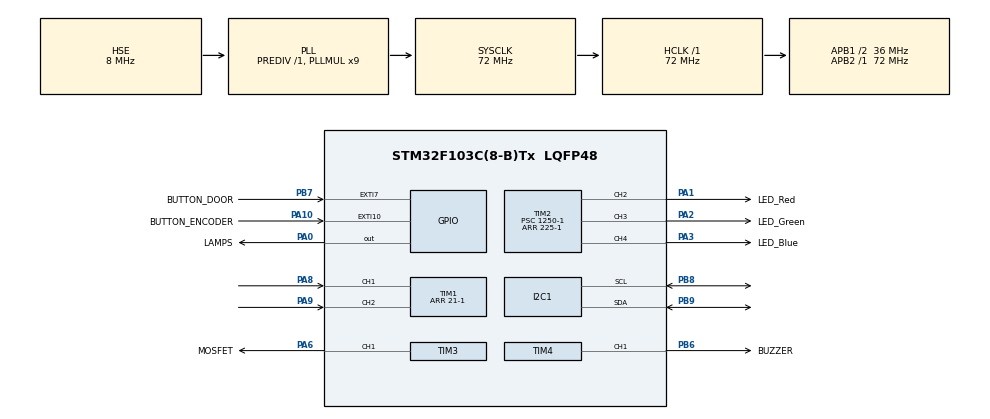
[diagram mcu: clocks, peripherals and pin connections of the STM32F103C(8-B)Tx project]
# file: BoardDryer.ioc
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Mcu.Family=STM32F1
Mcu.Name=STM32F103C(8-B)Tx
Mcu.Package=LQFP48
NVIC.EXTI15_10_IRQn=true\:0\:0\:false\:false\:true\:true\:true\:true
NVIC.EXTI9_5_IRQn=true\:0\:0\:false\:false\:true\:true\:true\:true
NVIC.PriorityGroup=NVIC_PRIORITYGROUP_4
NVIC.TIM1_UP_IRQn=true\:0\:0\:false\:false\:true\:true\:true\:true
NVIC.TIM2_IRQn=true\:0\:0\:false\:false\:true\:true\:true\:true
NVIC.TIM3_IRQn=true\:0\:0\:false\:false\:true\:true\:true\:true
NVIC.TIM4_IRQn=true\:0\:0\:false\:false\:true\:true\:true\:true
PA0-WKUP.GPIO_Label=LAMPS
PA0-WKUP.Signal=GPIO_Output
PA1.GPIO_Label=LED_Red
PA1.Signal=S_TIM2_CH2
PA10.GPIO_Label=BUTTON_ENCODER
PA10.Signal=GPXTI10
PA13.Mode=Serial_Wire
PA13.Signal=SYS_JTMS-SWDIO
PA14.Mode=Serial_Wire
PA14.Signal=SYS_JTCK-SWCLK
PA2.GPIO_Label=LED_Green
PA2.Signal=S_TIM2_CH3
PA3.GPIO_Label=LED_Blue
PA3.Signal=S_TIM2_CH4
PA6.GPIO_Label=MOSFET
PA6.Signal=S_TIM3_CH1
PA8.Signal=S_TIM1_CH1
PA9.Signal=S_TIM1_CH2
PB6.GPIO_Label=BUZZER
PB6.Signal=S_TIM4_CH1
PB7.GPIO_Label=BUTTON_DOOR
PB7.Signal=GPXTI7
PB8.Mode=I2C
PB8.Signal=I2C1_SCL
PB9.Mode=I2C
PB9.Signal=I2C1_SDA
PD0-OSC_IN.Mode=HSE-External-Oscillator
PD0-OSC_IN.Signal=RCC_OSC_IN
PD1-OSC_OUT.Mode=HSE-External-Oscillator
PD1-OSC_OUT.Signal=RCC_OSC_OUT
ProjectManager.HeapSize=0x200
ProjectManager.StackSize=0x400
ProjectManager.TargetToolchain=STM32CubeIDE
RCC.AHBFreq_Value=72000000
RCC.APB1CLKDivider=RCC_HCLK_DIV2
RCC.APB1Freq_Value=36000000
RCC.APB1TimFreq_Value=72000000
RCC.APB2Freq_Value=72000000
RCC.APB2TimFreq_Value=72000000
RCC.HCLKFreq_Value=72000000
RCC.PLLMUL=RCC_PLL_MUL9
RCC.PLLSourceVirtual=RCC_PLLSOURCE_HSE
RCC.SYSCLKFreq_VALUE=72000000
RCC.SYSCLKSource=RCC_SYSCLKSOURCE_PLLCLK
RCC.USBFreq_Value=72000000
SH.S_TIM1_CH1.0=TIM1_CH1,Encoder_Interface
SH.S_TIM1_CH2.0=TIM1_CH2,Encoder_Interface
SH.S_TIM2_CH2.0=TIM2_CH2,PWM Generation2 CH2
SH.S_TIM2_CH3.0=TIM2_CH3,PWM Generation3 CH3
SH.S_TIM2_CH4.0=TIM2_CH4,PWM Generation4 CH4
SH.S_TIM3_CH1.0=TIM3_CH1,PWM Generation1 CH1
SH.S_TIM4_CH1.0=TIM4_CH1,PWM Generation1 CH1
TIM1.Period=21-1
TIM2.Channel-PWM\ Generation2\ CH2=TIM_CHANNEL_2
TIM2.Channel-PWM\ Generation3\ CH3=TIM_CHANNEL_3
TIM2.Channel-PWM\ Generation4\ CH4=TIM_CHANNEL_4
TIM2.Period=225-1
TIM2.Prescaler=1250-1
TIM3.Channel-PWM\ Generation1\ CH1=TIM_CHANNEL_1
TIM3.Period=25000
TIM3.Prescaler=144
TIM4.Channel-PWM\ Generation1\ CH1=TIM_CHANNEL_1
VP_TIM2_VS_ClockSourceINT.Mode=Internal
board=custom

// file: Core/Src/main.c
/* USER CODE BEGIN Header */
/**
  ******************************************************************************
  * @file           : main.c
  * @brief          : Main program body
  ******************************************************************************
  * @attention
  *
  * Copyright (c) 2023 STMicroelectronics.
  * All rights reserved.
  *
  * This software is licensed under terms that can be found in the LICENSE file
  * in the root directory of this software component.
  * If no LICENSE file comes with this software, it is provided AS-IS.
  *
  ******************************************************************************
  */
/* USER CODE END Header */
#include "main.h"
#include "i2c.h"
#include "tim.h"
#include "gpio.h"

/* USER CODE BEGIN Includes */
#include <string.h>
#include <stdio.h>
#include <stdlib.h>

#include "lcd1602_i2c_lib.h"
#include "bmp280.h"
/* USER CODE END Includes */

/* USER CODE BEGIN PD */
#define TimerMode 1
#define NoTimerMode 2
#define DebugMode 3

#define MinTemperature 25
#define MaxTemperature 50
#define DELTA_TEMP 1

#define MinTime 1
#define MaxTime 90
#define Delta_Time 30
#define Time_Check 30
/* USER CODE END PD */

/* USER CODE BEGIN PV */
char *ListModes[4] = { "Set Mode: ", "1.Witn set time ", "2.Witnout time  ", "3.Diagnostics   " };
uint8_t Info_Mass_Index = 0;

volatile uint8_t ButtonDoor_State = 0;
volatile uint8_t ButtonEncoder_State = 0;
uint8_t past_encValue = 0;

uint8_t TargetMode = TimerMode;
int16_t TargetTemp = MinTemperature;
uint16_t TargetTime = 0;

uint16_t temp_choose = 30;
uint16_t time_choose = 30;

float Count_Timer = 0;
float Count_CheckTimer = 30;

BMP280_HandleTypedef bmp280;
float pressure = 0, temperature = 0;
float past_checkTemp = 0;

extern char lcd1602_tx_buffer[40];
uint8_t State_Lamp = 0, State_Cool = 0, Alarm_Flag = 0;

float temp1 = 0, temp2 = 0;
int flag[2];
/* USER CODE END PV */

void SystemClock_Config(void);

/* USER CODE BEGIN 0 */

//Установка цветов RGB-светодиода (Значения; 0-255)
void LED_RGB_Set(uint8_t LED_Red_Value, uint8_t LED_Green_Value, uint8_t LED_Blue_Value) {
	htim2.Instance->CCR2 = LED_Red_Value; // Red
	htim2.Instance->CCR3 = LED_Green_Value; // Green
	htim2.Instance->CCR4 = LED_Blue_Value; // Blue
}

//Установка звукового сигнала
void BuzzerSet(uint16_t time, uint16_t fill) {
	TIM1->PSC -=10;
	TIM4->CCR1 = TIM4->ARR * (fill/100);
	HAL_Delay(time);
	TIM4->CCR1 = 0;
}

//Вывод сообщения об ошибке
void Message_Alarm(void){
	LED_RGB_Set(255, 0, 0);
	TIM2->CCR2 = TIM2->ARR / 2;
	BuzzerSet(1000, 50);
	lcd1602_Clean();
	lcd1602_SetCursor(0, 0);
	sprintf(lcd1602_tx_buffer, "  Error!  ");
	lcd1602_Print_text(lcd1602_tx_buffer);
//	lcd1602_SetCursor(0, 1);
//	sprintf(lcd1602_tx_buffer, "Run diagnostics");
//	lcd1602_Print_text(lcd1602_tx_buffer);
	HAL_Delay(5000);
}

//Проверка закрытия двери
void CheckDoor(void){
	if(!ButtonDoor_State){
		if(State_Lamp)
			HAL_GPIO_WritePin(LAMPS_GPIO_Port, LAMPS_Pin, GPIO_PIN_RESET);
		if(State_Cool)
			TIM3->CCR1 = 0;
		Count_CheckTimer = 30;
		lcd1602_Clean();
		lcd1602_SetCursor(0, 0);
		sprintf(lcd1602_tx_buffer, "Close door, pls ");
		lcd1602_Print_text(lcd1602_tx_buffer);
		while(!ButtonDoor_State) {
			if (Count_CheckTimer < 0) {
				Alarm_Flag = 1;
				Message_Alarm();

			}
		}
	}
}

//Функция диагностики
void CHECK_SYSTEM(void) {
	lcd1602_SetCursor(0, 0);
	sprintf(lcd1602_tx_buffer, " CHECK SYSTEMS ");
	lcd1602_Print_text(lcd1602_tx_buffer);

	bmp280_read_float(&bmp280, &temperature, &pressure, NULL);
	temp1 = temperature;

	HAL_GPIO_WritePin(LAMPS_GPIO_Port, LAMPS_Pin, GPIO_PIN_SET);
	State_Lamp = 1;
	HAL_Delay(Delta_Time * 1000);
	HAL_GPIO_WritePin(LAMPS_GPIO_Port, LAMPS_Pin, GPIO_PIN_RESET);
	State_Lamp = 0;

	bmp280_read_float(&bmp280, &temperature, &pressure, NULL);
	temp2 = temperature;
	flag[0] = (temp2 - temp1) > 0 ? 1 : 0;

	temp1 = temp2;

	TIM3->CCR1 = (uint32_t) (50000);
	State_Cool = 1;
	HAL_Delay(Delta_Time * 1000);
	TIM3->CCR1 = 0;
	State_Cool = 0;

	bmp280_read_float(&bmp280, &temperature, &pressure, NULL);
	temp2 = temperature;
	flag[1] = (temp1 - temp2) < 3 ? 1 : 0;

	lcd1602_Clean();

	switch (flag[0]*10+flag[1]) {
		case 0:
			lcd1602_SetCursor(0, 0);
			sprintf(lcd1602_tx_buffer, "Defect sensor T.");
			lcd1602_Print_text(lcd1602_tx_buffer);
			lcd1602_SetCursor(0, 1);
			sprintf(lcd1602_tx_buffer, "or regul. system");
			lcd1602_Print_text(lcd1602_tx_buffer);
			break;
		case 1:
			lcd1602_SetCursor(0, 0);
			sprintf(lcd1602_tx_buffer, "Defect");
			lcd1602_Print_text(lcd1602_tx_buffer);
			lcd1602_SetCursor(0, 1);
			sprintf(lcd1602_tx_buffer, "heating system");
			lcd1602_Print_text(lcd1602_tx_buffer);
			break;
		case 10:
			lcd1602_SetCursor(0, 0);
			sprintf(lcd1602_tx_buffer, "Defect");
			lcd1602_Print_text(lcd1602_tx_buffer);
			lcd1602_SetCursor(0, 1);
			sprintf(lcd1602_tx_buffer, "cooling system");
			lcd1602_Print_text(lcd1602_tx_buffer);
			break;
		case 11:
			lcd1602_SetCursor(0, 0);
			sprintf(lcd1602_tx_buffer, "System is work");
			lcd1602_Print_text(lcd1602_tx_buffer);
			lcd1602_SetCursor(0, 1);
			sprintf(lcd1602_tx_buffer, "normal:)");
			lcd1602_Print_text(lcd1602_tx_buffer);
			break;
		}
	HAL_Delay(10000);
	ButtonEncoder_State = 0;
	lcd1602_Clean();
}

// Установка целевого режима
uint8_t ChooseTargetMode() {
	LED_RGB_Set(255, 255, 0);	//Установка индикации светодиода: Желтый цвет

	lcd1602_SetCursor(0, 0);
	sprintf(lcd1602_tx_buffer, ListModes[0]);
	lcd1602_Print_text(lcd1602_tx_buffer);

	while (!ButtonEncoder_State) {
		Info_Mass_Index = TIM1->CNT;
		lcd1602_SetCursor(0, 1);
		sprintf(lcd1602_tx_buffer, ListModes[Info_Mass_Index % 3 + 1]);
		lcd1602_Print_text(lcd1602_tx_buffer);
	}

	ButtonEncoder_State = 0;
	lcd1602_Clean();
	return (Info_Mass_Index % 3 + 1);
}

// Установка времени работы
uint8_t ChooseTargetTemp() {
	LED_RGB_Set(255, 255, 0);	//Установка индикации светодиода: Желтый цвет

	while (!ButtonEncoder_State) {
		lcd1602_SetCursor(0, 0);
		sprintf(lcd1602_tx_buffer, "Set T: %d*C  ", temp_choose);
		lcd1602_Print_text(lcd1602_tx_buffer);

		if(TIM1->CNT > past_encValue){
			if (temp_choose + 1 > MaxTemperature)
				temp_choose = MaxTemperature;
			else
					temp_choose++;
		}
		if(TIM1->CNT < past_encValue){
			if (temp_choose - 1 < MinTemperature)
				temp_choose = MinTemperature;
			else
				temp_choose--;
		}
		past_encValue = TIM1->CNT;

	}
	ButtonEncoder_State = 0;
	TIM1->CNT &= 0x0;
	lcd1602_Clean();
	return temp_choose;
}

// Установка температуры работы
uint8_t ChooseTargetTime() {
	LED_RGB_Set(255, 255, 0);	//Установка индикации светодиода: Желтый цвет

	lcd1602_SetCursor(0, 0);
	sprintf(lcd1602_tx_buffer, "Set time: ");
	lcd1602_Print_text(lcd1602_tx_buffer);

	while (!ButtonEncoder_State) {
		lcd1602_SetCursor(0, 1);
		sprintf(lcd1602_tx_buffer, "%d H. %d min.  ",
				time_choose / 60,
				time_choose % 60);
		lcd1602_Print_text(lcd1602_tx_buffer);

		if(TIM1->CNT > past_encValue){
			if (time_choose + 1 > MaxTime)
				time_choose = MaxTime;
			else
				time_choose++;
		}
		if(TIM1->CNT < past_encValue){
			if (time_choose - 1 < MinTime)
				time_choose = MinTime;
			else
				time_choose--;
		}
		past_encValue = TIM1->CNT;
	}
	ButtonEncoder_State = 0;
	TIM1->CNT &= 0x0;
	lcd1602_Clean();
	return time_choose;
}

//Нагрев перед работой
void Heating(int16_t TargetTemp){
	HAL_GPIO_WritePin(LAMPS_GPIO_Port, LAMPS_Pin, GPIO_PIN_SET);
	State_Lamp = 1;

	while (temperature <= TargetTemp) {
		bmp280_read_float(&bmp280, &temperature, &pressure, NULL);

		lcd1602_SetCursor(0, 0);
		sprintf(lcd1602_tx_buffer, "Temperature: %d ",
				(uint8_t) temperature);
		lcd1602_Print_text(lcd1602_tx_buffer);
		CheckDoor();
		if(Alarm_Flag) break;
	}
	HAL_GPIO_WritePin(LAMPS_GPIO_Port, LAMPS_Pin, GPIO_PIN_RESET);
	State_Lamp = 0;
	lcd1602_Clean();
}

//Режим по Таймеру
void RunTimerMode(int16_t TargetTemp, uint16_t TargetTime){
	LED_RGB_Set(255, 0, 0);
	BuzzerSet(3000, 100);

	Heating(TargetTemp);

	Count_Timer = (float) TargetTime * 60.0;
	Count_CheckTimer = (float) Time_Check * 30;
	past_checkTemp = bmp280_read_float(&bmp280, &temperature, &pressure, NULL);

	while (Count_Timer > 0) {
		bmp280_read_float(&bmp280, &temperature, &pressure, NULL);

		lcd1602_SetCursor(0, 0);
		sprintf(lcd1602_tx_buffer, "Temperature: %d ",
				(uint8_t) temperature);
		lcd1602_Print_text(lcd1602_tx_buffer);

		lcd1602_SetCursor(0, 1);
		sprintf(lcd1602_tx_buffer, "Time: %dH. %dm. ",
				((uint8_t) (Count_Timer / 60) / 60),
				((uint8_t) (Count_Timer / 60) % 60));
		lcd1602_Print_text(lcd1602_tx_buffer);

		if(State_Lamp){
			if (temperature - TargetTemp > DELTA_TEMP) {
				HAL_GPIO_WritePin(LAMPS_GPIO_Port, LAMPS_Pin,GPIO_PIN_RESET);
				State_Lamp = 0;
				TIM3->CCR1 = (uint32_t) (50000);
				State_Cool = 1;
			}
		}
		else{
			if (TargetTemp - temperature > DELTA_TEMP) {
				HAL_GPIO_WritePin(LAMPS_GPIO_Port, LAMPS_Pin, GPIO_PIN_SET);
				State_Lamp = 1;
				TIM3->CCR1 = 0;
				State_Cool = 0;
			}
		}
		CheckDoor();
		if(Alarm_Flag) break;
	}
}

//Режим без таймера (пока не нажата кнопка)
void RunNoTimerMode(int16_t TargetTemp){
	LED_RGB_Set(255, 0, 0);
	BuzzerSet(3000, 100);

	Heating(TargetTemp);

	ButtonEncoder_State = 0;
	while (!ButtonEncoder_State) {

		bmp280_read_float(&bmp280, &temperature, &pressure, NULL);
		lcd1602_SetCursor(0, 0);
		sprintf(lcd1602_tx_buffer, "    <Working>   ");
		lcd1602_Print_text(lcd1602_tx_buffer);
		lcd1602_SetCursor(0, 1);
		sprintf(lcd1602_tx_buffer, "Temperature: %d ",
				(uint8_t) temperature);
		lcd1602_Print_text(lcd1602_tx_buffer);
		HAL_Delay(50);

		if(State_Lamp){
			if (temperature - TargetTemp > DELTA_TEMP) {
				HAL_GPIO_WritePin(LAMPS_GPIO_Port, LAMPS_Pin,GPIO_PIN_RESET);
				State_Lamp = 0;
				TIM3->CCR1 = (uint32_t) (50000);
				State_Cool = 1;
			}
		}
		else{
			if (TargetTemp - temperature > DELTA_TEMP) {
				HAL_GPIO_WritePin(LAMPS_GPIO_Port, LAMPS_Pin, GPIO_PIN_SET);
				State_Lamp = 1;
				TIM3->CCR1 = 0;
				State_Cool = 0;
			}
		}
		CheckDoor();
		if(Alarm_Flag) break;
	}
	ButtonEncoder_State = 0;
	lcd1602_Clean();
}

//Окончание работы, охлаждение
void FinishWork(){
	lcd1602_Clean();
	HAL_GPIO_WritePin(LAMPS_GPIO_Port, LAMPS_Pin, GPIO_PIN_RESET);
	State_Lamp = 0;
	lcd1602_SetCursor(0, 0);
	sprintf(lcd1602_tx_buffer, "Work is finished");
	lcd1602_Print_text(lcd1602_tx_buffer);

	LED_RGB_Set(0, 255, 0);
	ButtonEncoder_State = 0;

	State_Cool = 1;
	for(int i = 0; i < 3; i++){
		Count_Timer = 30000;
		BuzzerSet(3000, 100);
		while (Count_Timer > 0){
			bmp280_read_float(&bmp280, &temperature, &pressure, NULL);
			TIM3->CCR1 = 50000 * (temperature/TargetTemp);

			if (ButtonEncoder_State) break;
		}
		if (ButtonEncoder_State) break;
	}
	TIM3->CCR1 = 0;
	State_Cool = 0;
	ButtonEncoder_State = 0;
	lcd1602_Clean();
}
/* USER CODE END 0 */

int main(void)
{

  /* MCU Configuration--------------------------------------------------------*/

  /* Reset of all peripherals, Initializes the Flash interface and the Systick. */
  HAL_Init();

  /* Configure the system clock */
  SystemClock_Config();

  /* Initialize all configured peripherals */
  MX_GPIO_Init();
  MX_I2C1_Init();
  MX_TIM1_Init();
  MX_TIM2_Init();
  MX_TIM3_Init();
  MX_TIM4_Init();
  /* USER CODE BEGIN 2 */
  __HAL_TIM_CLEAR_IT(&htim1, TIM_IT_UPDATE);
  	HAL_TIM_Encoder_Start_IT(&htim1, TIM_CHANNEL_ALL);

  	HAL_TIM_Base_Start_IT(&htim2);
  	HAL_TIM_PWM_Start(&htim2, TIM_CHANNEL_2);
  	HAL_TIM_PWM_Start(&htim2, TIM_CHANNEL_3);
  	HAL_TIM_PWM_Start(&htim2, TIM_CHANNEL_4);

  	HAL_TIM_Base_Start_IT(&htim3);
  	HAL_TIM_PWM_Start(&htim3, TIM_CHANNEL_1);

  	HAL_TIM_Base_Start_IT(&htim4);
  	HAL_TIM_PWM_Start(&htim4, TIM_CHANNEL_1);

  	lcd1602_Init();

	lcd1602_SetCursor(0, 0);
	sprintf(lcd1602_tx_buffer, "     Check      ");
	lcd1602_Print_text(lcd1602_tx_buffer);
	lcd1602_SetCursor(0, 1);
	sprintf(lcd1602_tx_buffer, "   Temp sensor  ");
	lcd1602_Print_text(lcd1602_tx_buffer);

	bmp280_init_default_params(&bmp280.params);
	bmp280.addr = BMP280_I2C_ADDRESS_0;
	bmp280.i2c = &hi2c1;

	while (!(bmp280_init(&bmp280, &bmp280.params)))
	{
	 HAL_Delay(1000);
	}
	//CHECK_SYSTEM();
	lcd1602_Clean();
  /* USER CODE END 2 */

  /* Infinite loop */
  while (1)
  {
  	bmp280_read_float(&bmp280, &temperature, &pressure, NULL);

	lcd1602_SetCursor(0, 0);
	sprintf(lcd1602_tx_buffer, "Temperature: %d ",
			(uint8_t) temperature);
	lcd1602_Print_text(lcd1602_tx_buffer);

	lcd1602_SetCursor(0, 1);
	sprintf(lcd1602_tx_buffer, "Time: %dH. %dm. ",
			((uint8_t) (Count_Timer / 60) / 60),
			((uint8_t) (Count_Timer / 60) % 60));
	lcd1602_Print_text(lcd1602_tx_buffer);
  	ButtonDoor_State = HAL_GPIO_ReadPin(BUTTON_DOOR_GPIO_Port, BUTTON_DOOR_Pin);
	TargetMode = ChooseTargetMode();

	switch (TargetMode) {
	case TimerMode:
		TargetTime = ChooseTargetTime();
		TargetTemp = ChooseTargetTemp();
		CheckDoor();
		RunTimerMode(TargetTemp, TargetTime);
		if(Alarm_Flag)
		break;
		FinishWork();
		break;

	case NoTimerMode:
		TargetTemp = ChooseTargetTemp();
		CheckDoor();
		RunNoTimerMode(TargetTemp);
		if(Alarm_Flag)
		break;
		FinishWork();
		break;

	case DebugMode:
		LED_RGB_Set(0, 0, 255);
		BuzzerSet(1000, 100);
		CHECK_SYSTEM();
		break;
	}
  }
}

void SystemClock_Config(void)
{
  RCC_OscInitTypeDef RCC_OscInitStruct = {0};
  RCC_ClkInitTypeDef RCC_ClkInitStruct = {0};

  /** Initializes the RCC Oscillators according to the specified parameters
  * in the RCC_OscInitTypeDef structure.
  */
  RCC_OscInitStruct.OscillatorType = RCC_OSCILLATORTYPE_HSE;
  RCC_OscInitStruct.HSEState = RCC_HSE_ON;
  RCC_OscInitStruct.HSEPredivValue = RCC_HSE_PREDIV_DIV1;
  RCC_OscInitStruct.HSIState = RCC_HSI_ON;
  RCC_OscInitStruct.PLL.PLLState = RCC_PLL_ON;
  RCC_OscInitStruct.PLL.PLLSource = RCC_PLLSOURCE_HSE;
  RCC_OscInitStruct.PLL.PLLMUL = RCC_PLL_MUL9;
  if (HAL_RCC_OscConfig(&RCC_OscInitStruct) != HAL_OK)
  {
    Error_Handler();
  }

  /** Initializes the CPU, AHB and APB buses clocks
  */
  RCC_ClkInitStruct.ClockType = RCC_CLOCKTYPE_HCLK|RCC_CLOCKTYPE_SYSCLK
                              |RCC_CLOCKTYPE_PCLK1|RCC_CLOCKTYPE_PCLK2;
  RCC_ClkInitStruct.SYSCLKSource = RCC_SYSCLKSOURCE_PLLCLK;
  RCC_ClkInitStruct.AHBCLKDivider = RCC_SYSCLK_DIV1;
  RCC_ClkInitStruct.APB1CLKDivider = RCC_HCLK_DIV2;
  RCC_ClkInitStruct.APB2CLKDivider = RCC_HCLK_DIV1;

  if (HAL_RCC_ClockConfig(&RCC_ClkInitStruct, FLASH_LATENCY_2) != HAL_OK)
  {
    Error_Handler();
  }
}

void Error_Handler(void)
{
  __disable_irq();
  while (1)
  {
  }
}
